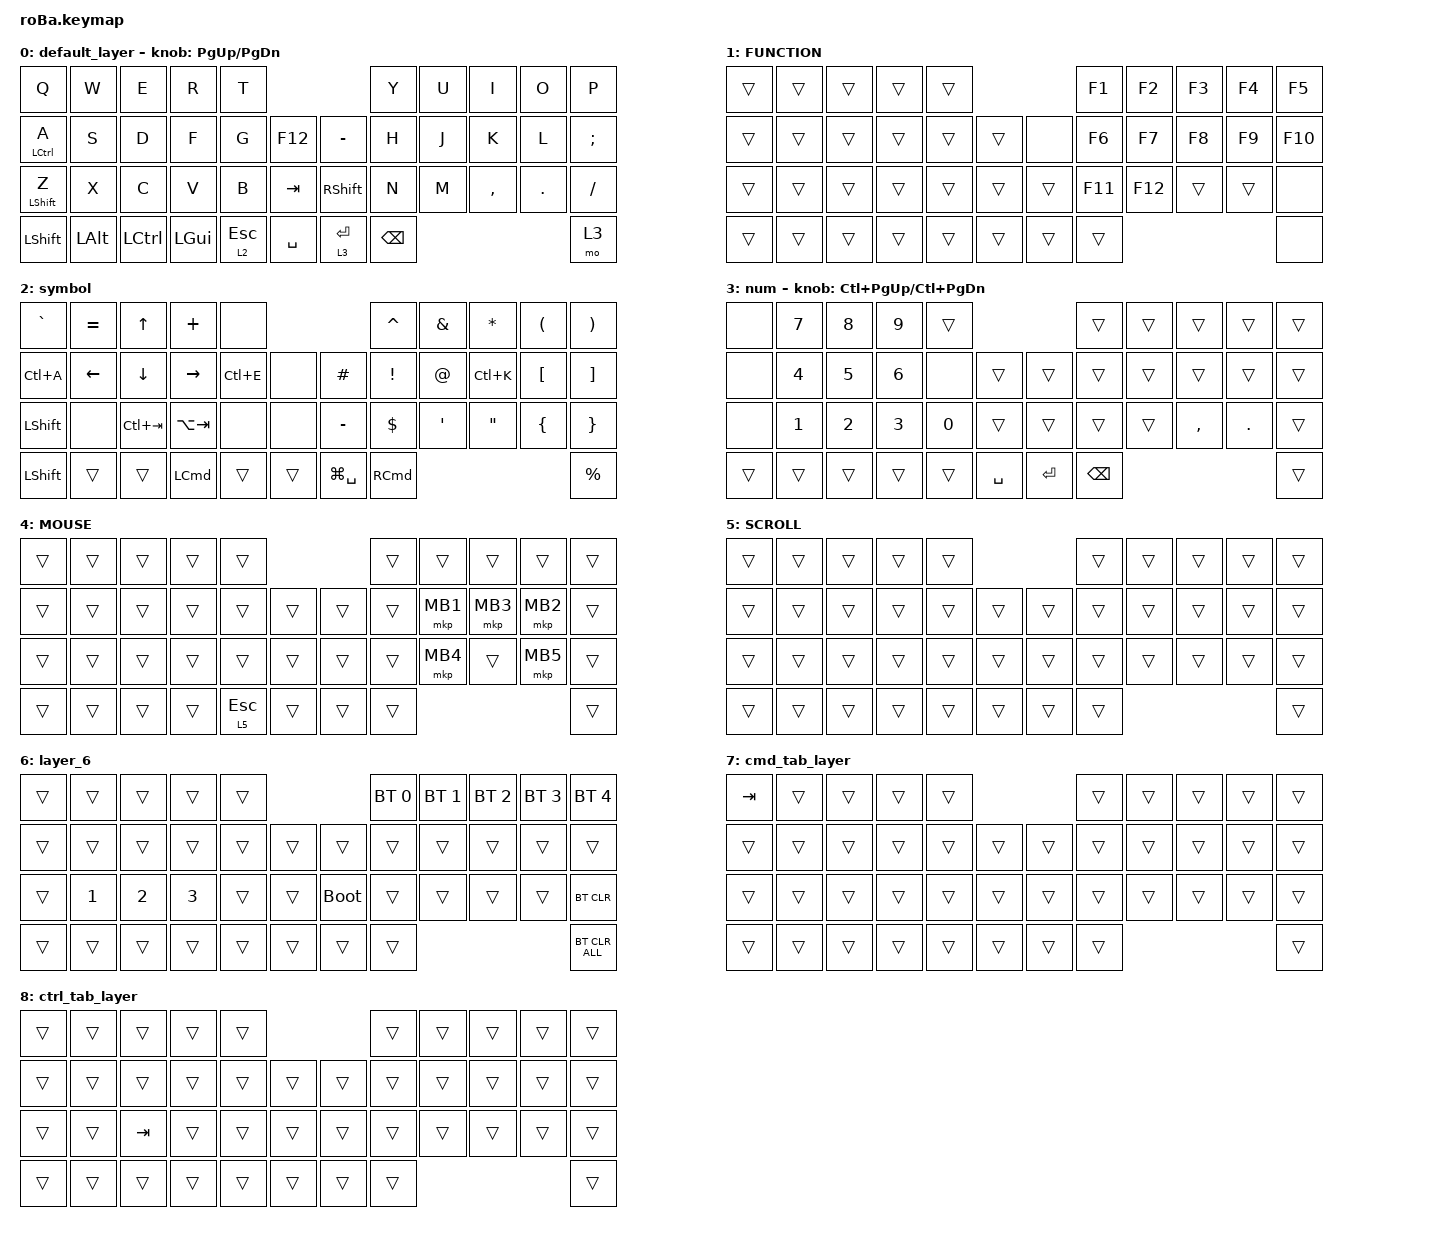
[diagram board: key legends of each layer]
#include <behaviors.dtsi>
#include <dt-bindings/zmk/bt.h>
#include <dt-bindings/zmk/keys.h>
#include <dt-bindings/zmk/pointing.h>

&mt {
    flavor = "balanced";
    quick-tap-ms = <0>;
    tapping-term-ms = <120>;
};

&trackball {
    automouse-layer = <4>;
    scroll-layers = <2 5>;

    // arrows {
    //     layers = <3>;
    //     bindings =
    //         <&kp RIGHT_ARROW>,
    //         <&kp LEFT_ARROW>,
    //         <&kp UP_ARROW>,
    //         <&kp DOWN_ARROW>;
    //     tick = <10>;
    //     wait-ms = <5>;
    //     tap-ms = <5>;
    // };
};

/ {
    combos {
        compatible = "zmk,combos";

        tofunctionLayer {
            bindings = <&mo 1>;
            key-positions = <10 22>;
            timeout-ms = <50>;
            require-prior-idle-ms = <125>;
            slow-release;
            layers = <0>;
        };

        blt_setting {
            bindings = <&mo 6>;
            key-positions = <16 28>;
            timeout-ms = <50>;
            require-prior-idle-ms = <150>;
            slow-release;
            layers = <0>;
        };

        ime_toggle {
            bindings = <&kp LC(SPACE)>;
            key-positions = <10 39>;
            timeout-ms = <300>;
            require-prior-idle-ms = <50>;
            layers = <0>;
        };

        tmux_pre {
            bindings = <&kp LC(G)>;
            key-positions = <10 15>;
            timeout-ms = <200>;
            require-prior-idle-ms = <125>;
            layers = <0>;
        };

        alt-tab {
            bindings = <&cmd_tab_hold>;
            key-positions = <0 38>;
            timeout-ms = <300>;
            require-prior-idle-ms = <400>;
            layers = <0>;
            slow-release;
        };

        ctrl-tab {
            bindings = <&ctrl_tab_hold>;
            key-positions = <24 38>;
            timeout-ms = <300>;
            require-prior-idle-ms = <200>;
            layers = <0>;
            slow-release;
        };

        tab {
            bindings = <&kp TAB>;
            key-positions = <11 12>;
            layers = <0>;
        };
    };

    macros {
        to_layer_0: to_layer_0 {
            compatible = "zmk,behavior-macro-one-param";
            #binding-cells = <1>;
            bindings = <&to 1 &macro_param_1to1 &kp MACRO_PLACEHOLDER>;
            label = "TO_LAYER_0";
        };

        cmd_tab_hold: cmd_tab_hold {
            compatible = "zmk,behavior-macro";
            #binding-cells = <0>;
            bindings =
                <&macro_press>,
                <&kp LGUI>,
                <&macro_tap>,
                <&kp TAB>,
                <&macro_press>,
                <&mo 7>,
                <&macro_pause_for_release>,
                <&macro_release>,
                <&mo 7>,
                <&macro_release>,
                <&kp LGUI>;
        };

        ctrl_tab_hold: ctrl_tab_hold {
            compatible = "zmk,behavior-macro";
            #binding-cells = <0>;
            bindings =
                <&macro_press>,
                <&kp LCTRL>,
                <&macro_tap>,
                <&kp TAB>,
                <&macro_press>,
                <&mo 8>,
                <&macro_pause_for_release>,
                <&macro_release>,
                <&mo 8>,
                <&macro_release>,
                <&kp LCTRL>;
        };
    };

    behaviors {
        lt_to_layer_0: lt_to_layer_0 {
            compatible = "zmk,behavior-hold-tap";
            label = "LAYER_TAP_TO_0";
            bindings = <&mo>, <&to_layer_0>;

            #binding-cells = <2>;
            tapping-term-ms = <200>;
        };
    };

    keymap {
        compatible = "zmk,keymap";

        default_layer {
            bindings = <
&kp Q             &kp W         &kp E      &kp R         &kp T                                      &kp Y          &kp U  &kp I      &kp O    &kp P
&mt LCTRL A       &kp S         &kp D      &kp F         &kp G      &kp F12        &kp MINUS        &kp H          &kp J  &kp K      &kp L    &kp SEMICOLON
&mt LEFT_SHIFT Z  &kp X         &kp C      &kp V         &kp B      &kp TAB        &kp RIGHT_SHIFT  &kp N          &kp M  &kp COMMA  &kp DOT  &kp SLASH
&kp LEFT_SHIFT    &kp LEFT_ALT  &kp LCTRL  &kp LEFT_GUI  &lt 2 ESC  &kp SPACE      &lt 3 ENTER      &kp BACKSPACE                             &mo 3
            >;

            sensor-bindings = <&inc_dec_kp PG_UP PAGE_DOWN>;
        };

        FUNCTION {
            bindings = <
&trans  &trans  &trans  &trans  &trans                      &kp F1   &kp F2   &kp F3  &kp F4  &kp F5
&trans  &trans  &trans  &trans  &trans  &trans      &none   &kp F6   &kp F7   &kp F8  &kp F9  &kp F10
&trans  &trans  &trans  &trans  &trans  &trans      &trans  &kp F11  &kp F12  &trans  &trans  &none
&trans  &trans  &trans  &trans  &trans  &trans      &trans  &trans                            &none
            >;
        };

        symbol {
            bindings = <
&kp GRAVE       &kp EQUAL       &kp UP          &kp PLUS         &none                                 &kp CARET          &kp AMPERSAND     &kp ASTERISK       &kp LEFT_PARENTHESIS  &kp RIGHT_PARENTHESIS
&kp LC(A)       &kp LEFT_ARROW  &kp DOWN_ARROW  &kp RIGHT_ARROW  &kp LC(E)  &none       &kp HASH       &kp EXCLAMATION    &kp AT_SIGN       &kp LC(K)          &kp LEFT_BRACKET      &kp RIGHT_BRACKET
&kp LEFT_SHIFT  &none           &kp LC(TAB)     &kp LA(TAB)      &none      &none       &kp MINUS      &kp DOLLAR         &kp SINGLE_QUOTE  &kp DOUBLE_QUOTES  &kp LEFT_BRACE        &kp RIGHT_BRACE
&kp LEFT_SHIFT  &trans          &trans          &kp LCMD         &trans     &trans      &kp LG(SPACE)  &kp RIGHT_COMMAND                                                             &kp PERCENT
            >;
        };

        num {
            bindings = <
&none   &kp N7  &kp N8  &kp N9  &trans                            &trans    &trans  &trans     &trans   &trans
&none   &kp N4  &kp N5  &kp N6  &none   &trans         &trans     &trans    &trans  &trans     &trans   &trans
&none   &kp N1  &kp N2  &kp N3  &kp N0  &trans         &trans     &trans    &trans  &kp COMMA  &kp DOT  &trans
&trans  &trans  &trans  &trans  &trans  &kp SPACE      &kp ENTER  &kp BSPC                              &trans
            >;

            sensor-bindings = <&inc_dec_kp LC(PAGE_UP) LC(PAGE_DOWN)>;
        };

        MOUSE {
            bindings = <
&trans  &trans  &trans  &trans  &trans                         &trans  &trans    &trans    &trans    &trans
&trans  &trans  &trans  &trans  &trans     &trans      &trans  &trans  &mkp MB1  &mkp MB3  &mkp MB2  &trans
&trans  &trans  &trans  &trans  &trans     &trans      &trans  &trans  &mkp MB4  &trans    &mkp MB5  &trans
&trans  &trans  &trans  &trans  &lt 5 ESC  &trans      &trans  &trans                                &trans
            >;
        };

        SCROLL {
            bindings = <
&trans  &trans  &trans  &trans  &trans                      &trans  &trans  &trans  &trans  &trans
&trans  &trans  &trans  &trans  &trans  &trans      &trans  &trans  &trans  &trans  &trans  &trans
&trans  &trans  &trans  &trans  &trans  &trans      &trans  &trans  &trans  &trans  &trans  &trans
&trans  &trans  &trans  &trans  &trans  &trans      &trans  &trans                          &trans
            >;
        };

        layer_6 {
            bindings = <
&trans  &trans        &trans        &trans        &trans                           &bt BT_SEL 0  &bt BT_SEL 1  &bt BT_SEL 2  &bt BT_SEL 3  &bt BT_SEL 4
&trans  &trans        &trans        &trans        &trans  &trans      &trans       &trans        &trans        &trans        &trans        &trans
&trans  &kp NUMBER_1  &kp NUMBER_2  &kp NUMBER_3  &trans  &trans      &bootloader  &trans        &trans        &trans        &trans        &bt BT_CLR
&trans  &trans        &trans        &trans        &trans  &trans      &trans       &trans                                                  &bt BT_CLR_ALL
            >;
        };

        cmd_tab_layer {
            bindings = <
&kp TAB  &trans  &trans  &trans  &trans                      &trans  &trans  &trans  &trans  &trans
&trans   &trans  &trans  &trans  &trans  &trans      &trans  &trans  &trans  &trans  &trans  &trans
&trans   &trans  &trans  &trans  &trans  &trans      &trans  &trans  &trans  &trans  &trans  &trans
&trans   &trans  &trans  &trans  &trans  &trans      &trans  &trans                          &trans
            >;
        };

        ctrl_tab_layer {
            bindings = <
&trans  &trans  &trans   &trans  &trans                      &trans  &trans  &trans  &trans  &trans
&trans  &trans  &trans   &trans  &trans  &trans      &trans  &trans  &trans  &trans  &trans  &trans
&trans  &trans  &kp TAB  &trans  &trans  &trans      &trans  &trans  &trans  &trans  &trans  &trans
&trans  &trans  &trans   &trans  &trans  &trans      &trans  &trans                          &trans
            >;
        };
    };
};
